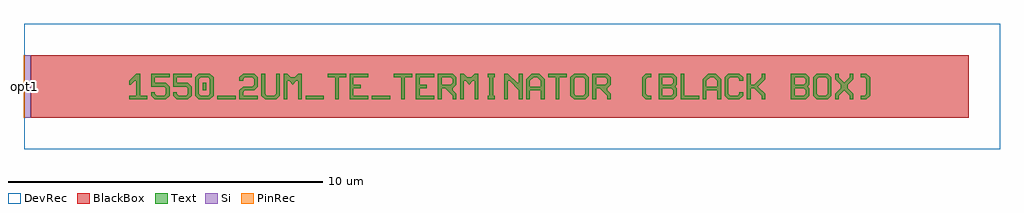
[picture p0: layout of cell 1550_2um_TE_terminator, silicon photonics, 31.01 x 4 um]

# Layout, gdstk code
import gdstk
lib = gdstk.Library(unit=1e-6, precision=1e-09)
def R(c, l, rs):  # rectangles x0, y0, x1, y1
    for r in rs: c.add(gdstk.rectangle(r[:2], r[2:], *l))
def P(c, l, *ps):  # polygons
    for p in ps: c.add(gdstk.Polygon(p, *l))
Si = (1, 0)
PinRec = (1, 10)
Text = (10, 0)
DevRec = (68, 0)
BlackBox = (998, 0)

text = lib.new_cell('TEXT')
R(text, Text, [(2.804,0,3.388,0.117), (5.608,0,6.192,0.117), (7.711,0,8.295,0.117), (2.337,0.292,2.454,0.526)])
P(text, Text, [(0,0),(0,0.117),(0.234,0.117),(0.234,0.584),(0.175,0.584),(0.058,0.467),(0,0.467),(0,0.584),(0.234,0.818),(0.351,0.818),(0.351,0.117),(0.584,0.117),(0.584,0)],
  [(0.818,0),(0.701,0.117),(0.701,0.234),(0.818,0.234),(0.818,0.175),(0.876,0.117),(1.11,0.117),(1.168,0.175),(1.168,0.351),(1.11,0.409),(0.701,0.409),(0.701,0.818),(1.285,0.818),(1.285,0.701),(0.818,0.701),(0.818,0.526),(1.168,0.526),(1.285,0.409),(1.285,0.117),(1.168,0)],
  [(1.519,0),(1.402,0.117),(1.402,0.234),(1.519,0.234),(1.519,0.175),(1.577,0.117),(1.811,0.117),(1.869,0.175),(1.869,0.351),(1.811,0.409),(1.402,0.409),(1.402,0.818),(1.986,0.818),(1.986,0.701),(1.519,0.701),(1.519,0.526),(1.869,0.526),(1.986,0.409),(1.986,0.117),(1.869,0)],
  [(2.22,0),(2.103,0.117),(2.103,0.701),(2.22,0.818),(2.57,0.818),(2.687,0.701),(2.278,0.701),(2.22,0.643),(2.22,0.175),(2.278,0.117),(2.512,0.117),(2.57,0.175),(2.57,0.643),(2.512,0.701),(2.687,0.701),(2.687,0.117),(2.57,0)],
  [(3.505,0),(3.505,0.292),(3.622,0.409),(3.914,0.409),(3.972,0.467),(3.972,0.643),(3.914,0.701),(3.68,0.701),(3.622,0.643),(3.622,0.584),(3.505,0.584),(3.505,0.701),(3.622,0.818),(3.972,0.818),(4.089,0.701),(4.089,0.409),(3.972,0.292),(3.68,0.292),(3.622,0.234),(3.622,0.117),(4.089,0.117),(4.089,0)],
  [(4.323,0),(4.206,0.117),(4.206,0.818),(4.323,0.818),(4.323,0.175),(4.381,0.117),(4.615,0.117),(4.673,0.175),(4.673,0.818),(4.79,0.818),(4.79,0.117),(4.673,0)],
  [(4.907,0),(4.907,0.818),(5.024,0.818),(5.141,0.701),(5.258,0.701),(5.374,0.818),(5.491,0.818),(5.491,0),(5.374,0),(5.374,0.584),(5.316,0.584),(5.199,0.467),(5.082,0.584),(5.024,0.584),(5.024,0)],
  [(6.543,0),(6.543,0.701),(6.309,0.701),(6.309,0.818),(6.893,0.818),(6.893,0.701),(6.66,0.701),(6.66,0)],
  [(7.01,0),(7.01,0.818),(7.594,0.818),(7.594,0.701),(7.127,0.701),(7.127,0.467),(7.361,0.467),(7.361,0.351),(7.127,0.351),(7.127,0.117),(7.594,0.117),(7.594,0)],
  [(8.646,0),(8.646,0.701),(8.412,0.701),(8.412,0.818),(8.996,0.818),(8.996,0.701),(8.763,0.701),(8.763,0)],
  [(9.113,0),(9.113,0.818),(9.697,0.818),(9.697,0.701),(9.23,0.701),(9.23,0.467),(9.464,0.467),(9.464,0.351),(9.23,0.351),(9.23,0.117),(9.697,0.117),(9.697,0)],
  [(9.814,0),(9.814,0.818),(10.281,0.818),(10.398,0.701),(9.931,0.701),(9.931,0.467),(10.223,0.467),(10.281,0.526),(10.281,0.643),(10.223,0.701),(10.398,0.701),(10.398,0.467),(10.281,0.351),(10.281,0.292),(10.398,0.175),(10.398,0),(10.281,0),(10.281,0.117),(10.048,0.351),(9.931,0.351),(9.931,0)],
  [(10.515,0),(10.515,0.818),(10.632,0.818),(10.749,0.701),(10.866,0.701),(10.982,0.818),(11.099,0.818),(11.099,0),(10.982,0),(10.982,0.584),(10.924,0.584),(10.807,0.467),(10.69,0.584),(10.632,0.584),(10.632,0)],
  [(11.391,0),(11.391,0.117),(11.45,0.117),(11.45,0.701),(11.391,0.701),(11.391,0.818),(11.625,0.818),(11.625,0.701),(11.567,0.701),(11.567,0.117),(11.625,0.117),(11.625,0)],
  [(11.917,0),(11.917,0.818),(12.034,0.818),(12.326,0.526),(12.384,0.526),(12.384,0.818),(12.501,0.818),(12.501,0),(12.384,0),(12.384,0.292),(12.092,0.584),(12.034,0.584),(12.034,0)],
  [(12.618,0),(12.618,0.643),(12.793,0.818),(13.027,0.818),(13.144,0.701),(12.852,0.701),(12.735,0.584),(12.735,0.409),(13.085,0.409),(13.085,0.584),(12.969,0.701),(13.144,0.701),(13.202,0.643),(13.202,0),(13.085,0),(13.085,0.292),(12.735,0.292),(12.735,0)],
  [(13.553,0),(13.553,0.701),(13.319,0.701),(13.319,0.818),(13.903,0.818),(13.903,0.701),(13.67,0.701),(13.67,0)],
  [(14.137,0),(14.02,0.117),(14.02,0.701),(14.137,0.818),(14.487,0.818),(14.604,0.701),(14.604,0.409),(14.487,0.409),(14.487,0.643),(14.429,0.701),(14.195,0.701),(14.137,0.643),(14.137,0.175),(14.195,0.117),(14.429,0.117),(14.487,0.175),(14.487,0.409),(14.604,0.409),(14.604,0.117),(14.487,0)],
  [(14.721,0),(14.721,0.818),(15.188,0.818),(15.305,0.701),(14.838,0.701),(14.838,0.467),(15.13,0.467),(15.188,0.526),(15.188,0.643),(15.13,0.701),(15.305,0.701),(15.305,0.467),(15.188,0.351),(15.188,0.292),(15.305,0.175),(15.305,0),(15.188,0),(15.188,0.117),(14.955,0.351),(14.838,0.351),(14.838,0)],
  [(16.415,0),(16.298,0.117),(16.298,0.701),(16.415,0.818),(16.59,0.818),(16.59,0.701),(16.474,0.701),(16.415,0.643),(16.415,0.175),(16.474,0.117),(16.59,0.117),(16.59,0)],
  [(16.824,0),(16.824,0.818),(17.291,0.818),(17.408,0.701),(16.941,0.701),(16.941,0.467),(17.233,0.467),(17.291,0.526),(17.291,0.643),(17.233,0.701),(17.408,0.701),(17.408,0.467),(17.35,0.409),(17.408,0.351),(16.941,0.351),(16.941,0.117),(17.233,0.117),(17.291,0.175),(17.291,0.292),(17.233,0.351),(17.408,0.351),(17.408,0.117),(17.291,0)],
  [(17.525,0),(17.525,0.818),(17.642,0.818),(17.642,0.117),(18.109,0.117),(18.109,0)],
  [(18.226,0),(18.226,0.643),(18.401,0.818),(18.635,0.818),(18.752,0.701),(18.46,0.701),(18.343,0.584),(18.343,0.409),(18.693,0.409),(18.693,0.584),(18.577,0.701),(18.752,0.701),(18.81,0.643),(18.81,0),(18.693,0),(18.693,0.292),(18.343,0.292),(18.343,0)],
  [(19.044,0),(18.927,0.117),(18.927,0.701),(19.044,0.818),(19.394,0.818),(19.511,0.701),(19.511,0.584),(19.394,0.584),(19.394,0.643),(19.336,0.701),(19.102,0.701),(19.044,0.643),(19.044,0.175),(19.102,0.117),(19.336,0.117),(19.394,0.175),(19.394,0.234),(19.511,0.234),(19.511,0.117),(19.394,0)],
  [(19.628,0),(19.628,0.818),(19.745,0.818),(19.745,0.467),(19.862,0.467),(20.095,0.701),(20.095,0.818),(20.212,0.818),(20.212,0.643),(19.979,0.409),(20.212,0.175),(20.212,0),(20.095,0),(20.095,0.117),(19.862,0.351),(19.745,0.351),(19.745,0)],
  [(21.03,0),(21.03,0.818),(21.497,0.818),(21.614,0.701),(21.147,0.701),(21.147,0.467),(21.439,0.467),(21.497,0.526),(21.497,0.643),(21.439,0.701),(21.614,0.701),(21.614,0.467),(21.556,0.409),(21.614,0.351),(21.147,0.351),(21.147,0.117),(21.439,0.117),(21.497,0.175),(21.497,0.292),(21.439,0.351),(21.614,0.351),(21.614,0.117),(21.497,0)],
  [(21.848,0),(21.731,0.117),(21.731,0.701),(21.848,0.818),(22.198,0.818),(22.315,0.701),(22.315,0.409),(22.198,0.409),(22.198,0.643),(22.14,0.701),(21.906,0.701),(21.848,0.643),(21.848,0.175),(21.906,0.117),(22.14,0.117),(22.198,0.175),(22.198,0.409),(22.315,0.409),(22.315,0.117),(22.198,0)],
  [(22.432,0),(22.432,0.175),(22.607,0.351),(22.607,0.467),(22.432,0.643),(22.432,0.818),(22.549,0.818),(22.549,0.701),(22.724,0.526),(22.899,0.701),(22.899,0.818),(23.016,0.818),(23.016,0.643),(22.841,0.467),(22.841,0.351),(23.016,0.175),(23.016,0),(22.899,0),(22.899,0.117),(22.724,0.292),(22.549,0.117),(22.549,0)],
  [(23.25,0),(23.25,0.117),(23.367,0.117),(23.425,0.175),(23.425,0.643),(23.367,0.701),(23.25,0.701),(23.25,0.818),(23.425,0.818),(23.542,0.701),(23.542,0.117),(23.425,0)])

c_1550_2um_te_terminator = lib.new_cell('1550_2um_TE_terminator')
R(c_1550_2um_te_terminator, Si, [(-15,-1,-14.8,1)])
R(c_1550_2um_te_terminator, DevRec, [(-15,-2,16,2)])
R(c_1550_2um_te_terminator, BlackBox, [(-14.8,-1,15,1)])
c_1550_2um_te_terminator.add(gdstk.FlexPath([(-14.99,0),(-15.01,0)], 2, ends="flush", simple_path=True, layer=1, datatype=10))  # PinRec
c_1550_2um_te_terminator.add(gdstk.Reference(text, (-11.671,-0.409)))
c_1550_2um_te_terminator.add(gdstk.Label('opt1', (-15,0), layer=1, texttype=10))

lib.write_gds('1550_2um_TE_terminator.gds')
